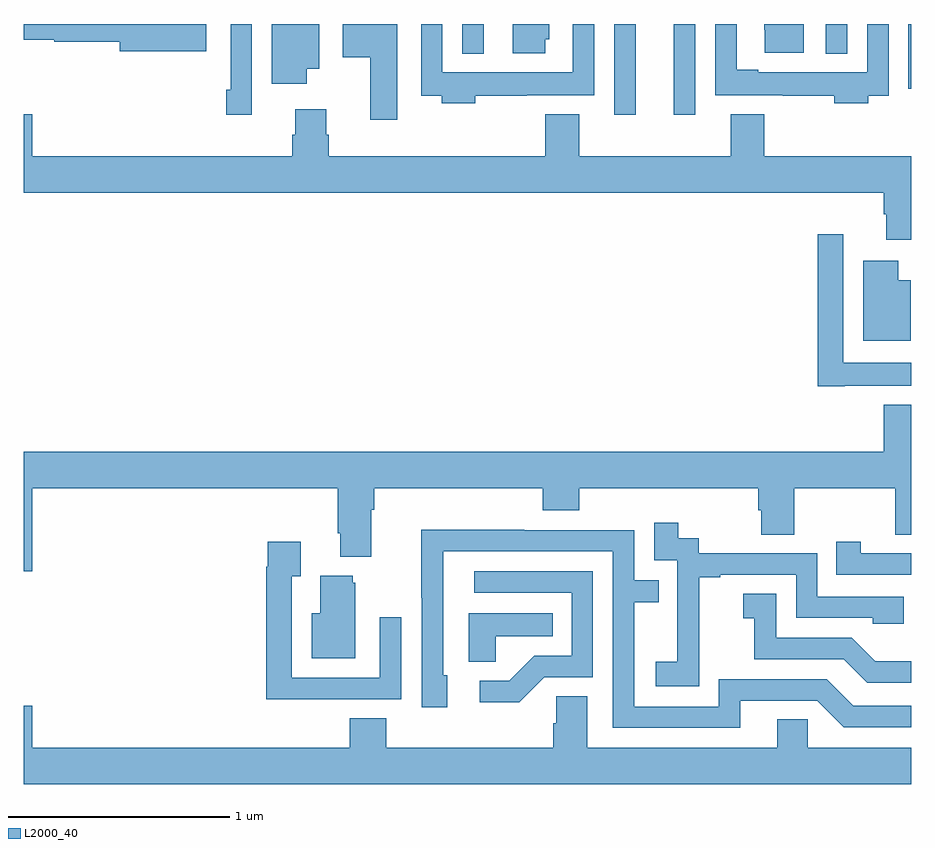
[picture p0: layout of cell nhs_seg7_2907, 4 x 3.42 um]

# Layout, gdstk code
import gdstk
lib = gdstk.Library(unit=1e-6, precision=1e-09)
def R(c, l, rs):  # rectangles x0, y0, x1, y1
    for r in rs: c.add(gdstk.rectangle(r[:2], r[2:], *l))
def P(c, l, *ps):  # polygons
    for p in ps: c.add(gdstk.Polygon(p, *l))
L2000_40 = (2000, 40)

nhs_seg7_2907 = lib.new_cell('nhs_seg7_2907')
R(nhs_seg7_2907, L2000_40, [(299.661,1043.592,299.758,1044), (299.93,1043.592,300.027,1044), (300.986,1043.709,301,1044), (298.977,1043.867,299.074,1044), (300.615,1043.867,300.711,1044)])
P(nhs_seg7_2907, L2000_40, [(298.276,1043.798),(298.333,1043.798),(298.333,1044),(298.118,1044),(298.118,1043.73),(298.276,1043.73)],
  [(300.514,1044),(300.338,1044),(300.338,1043.974),(300.339,1043.974),(300.339,1043.871),(300.514,1043.871)],
  [(300.805,1043.676),(300.897,1043.676),(300.897,1044),(300.801,1044),(300.801,1043.782),(300.31,1043.782),(300.31,1043.795),(300.213,1043.795),(300.213,1044),(300.117,1044),(300.117,1043.678),(300.421,1043.678),(300.421,1043.676),(300.653,1043.676),(300.653,1043.642),(300.805,1043.642)],
  [(299.036,1043.676),(299.267,1043.676),(299.267,1043.678),(299.571,1043.678),(299.571,1044),(299.475,1044),(299.475,1043.782),(298.887,1043.782),(298.887,1044),(298.791,1044),(298.791,1043.676),(298.883,1043.676),(298.883,1043.642),(299.036,1043.642)],
  [(298.029,1044),(297.933,1044),(297.933,1043.704),(297.913,1043.704),(297.913,1043.592),(298.029,1043.592)],
  [(297.823,1044),(297,1044),(297,1043.928),(297.138,1043.928),(297.138,1043.92),(297.434,1043.92),(297.434,1043.878),(297.823,1043.878)],
  [(299.35,1043.931),(299.368,1043.931),(299.368,1044),(299.204,1044),(299.204,1043.868),(299.35,1043.868)],
  [(298.684,1043.998),(298.437,1043.998),(298.437,1043.851),(298.562,1043.851),(298.562,1043.568),(298.684,1043.568)],
  [(301,1043.404),(300.338,1043.404),(300.338,1043.593),(300.185,1043.593),(300.185,1043.404),(299.503,1043.404),(299.503,1043.593),(299.351,1043.593),(299.351,1043.404),(298.376,1043.404),(298.376,1043.502),(298.363,1043.502),(298.363,1043.617),(298.223,1043.617),(298.223,1043.502),(298.211,1043.502),(298.211,1043.404),(297.04,1043.404),(297.04,1043.593),(297,1043.593),(297,1043.24),(300.875,1043.24),(300.875,1043.142),(300.887,1043.142),(300.887,1043.028),(301,1043.028)],
  [(300.7,1042.37),(301,1042.37),(301,1042.474),(300.693,1042.474),(300.693,1043.053),(300.577,1043.053),(300.577,1042.368),(300.7,1042.368)],
  [(300.997,1042.846),(300.94,1042.846),(300.94,1042.933),(300.782,1042.933),(300.782,1042.574),(300.997,1042.574)],
  [(297.04,1041.908),(298.415,1041.908),(298.415,1041.706),(298.427,1041.706),(298.427,1041.599),(298.567,1041.599),(298.567,1041.812),(298.58,1041.812),(298.58,1041.908),(299.339,1041.908),(299.339,1041.809),(299.504,1041.809),(299.504,1041.908),(300.311,1041.908),(300.311,1041.81),(300.323,1041.81),(300.323,1041.7),(300.471,1041.7),(300.471,1041.908),(300.928,1041.908),(300.928,1041.7),(301,1041.7),(301,1042.285),(300.875,1042.285),(300.875,1042.072),(297,1042.072),(297,1041.534),(297.04,1041.534)],
  [(300.045,1041.223),(300.044,1041.223),(300.044,1041.507),(300.139,1041.507),(300.139,1041.519),(300.48,1041.519),(300.48,1041.324),(300.825,1041.324),(300.825,1041.297),(300.965,1041.297),(300.965,1041.42),(300.576,1041.42),(300.576,1041.615),(300.042,1041.615),(300.042,1041.684),(299.95,1041.684),(299.95,1041.754),(299.841,1041.754),(299.841,1041.585),(299.946,1041.585),(299.946,1041.356),(299.945,1041.356),(299.945,1041.127),(299.847,1041.127),(299.847,1041.017),(300.045,1041.017)],
  [(300.229,1040.952),(300.576,1040.952),(300.696,1040.832),(301,1040.832),(301,1040.928),(300.738,1040.928),(300.618,1041.048),(300.132,1041.048),(300.132,1040.925),(299.751,1040.925),(299.751,1041.394),(299.861,1041.394),(299.861,1041.495),(299.751,1041.495),(299.751,1041.72),(299.255,1041.72),(299.255,1041.722),(298.792,1041.722),(298.792,1041.415),(298.794,1041.415),(298.794,1040.922),(298.909,1040.922),(298.909,1041.066),(298.89,1041.066),(298.89,1041.624),(299.655,1041.624),(299.655,1040.829),(300.229,1040.829)],
  [(298.385,1040.958),(298.701,1040.958),(298.701,1041.328),(298.605,1041.328),(298.605,1041.054),(298.209,1041.054),(298.209,1041.511),(298.249,1041.511),(298.249,1041.667),(298.101,1041.667),(298.101,1041.554),(298.093,1041.554),(298.093,1040.957),(298.385,1040.957)],
  [(301,1041.615),(300.772,1041.615),(300.772,1041.667),(300.661,1041.667),(300.661,1041.519),(301,1041.519)],
  [(299.346,1041.057),(299.565,1041.057),(299.565,1041.534),(299.031,1041.534),(299.031,1041.438),(299.469,1041.438),(299.469,1041.153),(299.3,1041.153),(299.189,1041.042),(299.055,1041.042),(299.055,1040.945),(299.233,1040.945)],
  [(298.495,1041.483),(298.484,1041.483),(298.484,1041.514),(298.337,1041.514),(298.337,1041.346),(298.298,1041.346),(298.298,1041.143),(298.495,1041.143)],
  [(301,1041.13),(300.836,1041.13),(300.732,1041.234),(300.39,1041.234),(300.39,1041.433),(300.243,1041.433),(300.243,1041.323),(300.292,1041.323),(300.292,1041.138),(300.695,1041.138),(300.8,1041.033),(301,1041.033)],
  [(299.127,1041.242),(299.384,1041.242),(299.384,1041.346),(299.006,1041.346),(299.006,1041.127),(299.127,1041.127)],
  [(301,1040.74),(300.534,1040.74),(300.534,1040.867),(300.395,1040.867),(300.395,1040.74),(299.539,1040.74),(299.539,1040.972),(299.4,1040.972),(299.4,1040.849),(299.387,1040.849),(299.387,1040.74),(298.634,1040.74),(298.634,1040.873),(298.469,1040.873),(298.469,1040.74),(297.04,1040.74),(297.04,1040.929),(297,1040.929),(297,1040.576),(301,1040.576)])

lib.write_gds('nhs_seg7_2907.gds')
